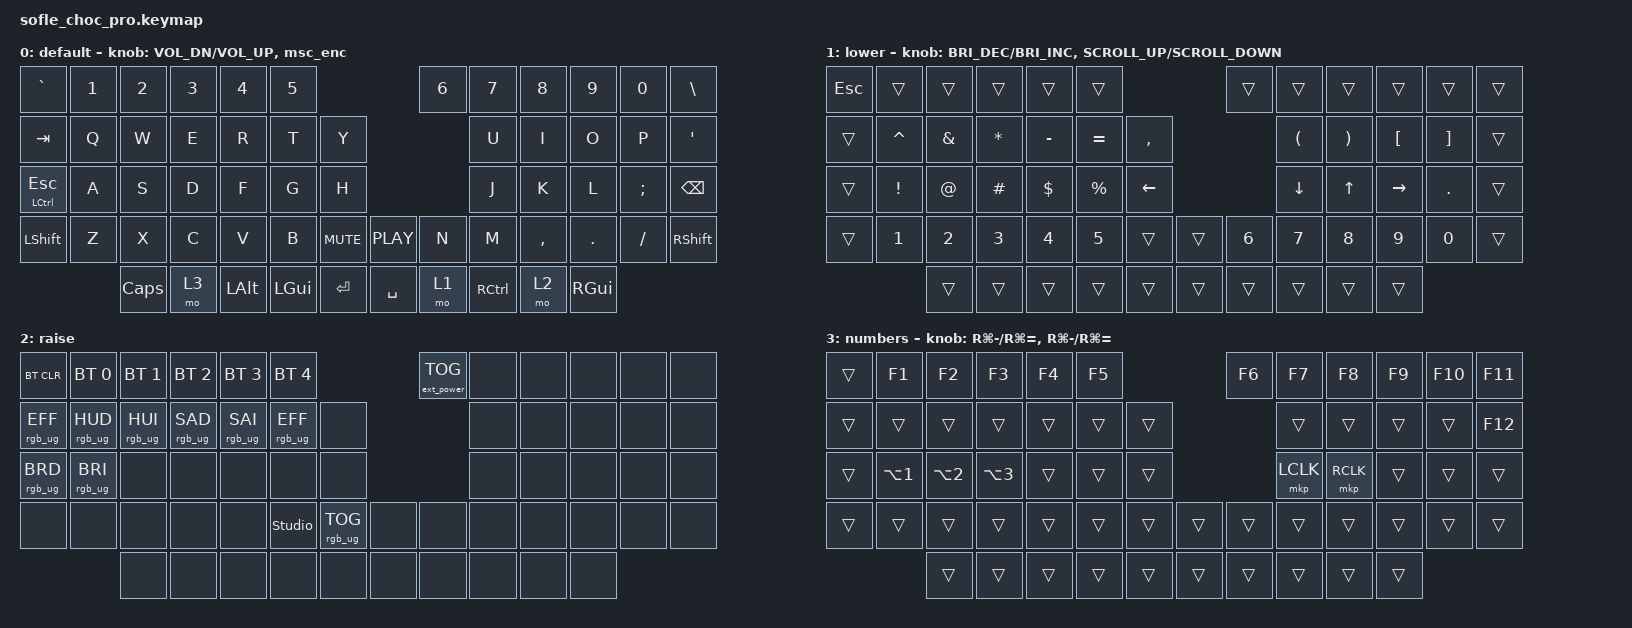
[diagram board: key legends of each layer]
/*
* Copyright (c) 2020 The ZMK Contributors
*
* SPDX-License-Identifier: MIT
*/

#include <behaviors.dtsi>
#include <dt-bindings/zmk/bt.h>
#include <dt-bindings/zmk/ext_power.h>
#include <dt-bindings/zmk/keys.h>
#include <dt-bindings/zmk/pointing.h>
#include <dt-bindings/zmk/rgb.h>

#define BASE 0
#define LOWER 1
#define RAISE 2
#define ADJUST 3

/ {
    // Activate ADJUST layer by pressing raise and lower

    conditional_layers { compatible = "zmk,conditional-layers"; };

    // Sensor-rotate behavior wrapping &msc for the right encoder.
    // sensor-bindings entries need a behavior taking TWO params (one per
    // rotation direction) — that's why &inc_dec_kp works for &kp. &msc takes
    // only one arg, and ZMK doesn't ship an inc_dec_msc helper, so we declare
    // our own sensor-rotate behavior here.
    // Requires CONFIG_ZMK_POINTING=y in sofle_choc_pro.conf.

    behaviors {
        msc_enc: behavior_sensor_rotate_msc {
            compatible = "zmk,behavior-sensor-rotate";
            #sensor-binding-cells = <0>;
            bindings = <&msc SCRL_UP>, <&msc SCRL_DOWN>;

            // &msc emits scroll ticks at a rate while held; the default
            // sensor-rotate tap is too short to produce one tick per detent.

            tap-ms = <30>;
        };
    };

    keymap {
        compatible = "zmk,keymap";

        default_layer {
            display-name = "default";

            // ------------------------------------------------------------------------------------------------------------
            // |   `   |  1  |  2  |  3   |  4   |  5   |                   |  6   |  7    |  8    |  9   |   0   |   `   |
            // |  ESC  |  Q  |  W  |  E   |  R   |  T   |                   |  Y   |  U    |  I    |  O   |   P   | BKSPC |
            // |  TAB  |  A  |  S  |  D   |  F   |  G   |                   |  H   |  J    |  K    |  L   |   ;   |   '   |
            // | SHIFT |  Z  |  X  |  C   |  V   |  B   |  MUTE  |  | PLAY  |  N   |  M    |  ,    |  .   |   /   | SHIFT |
            //               | GUI | ALT  | CTRL | LOWER|  ENTER |  | SPACE | RAISE| CTRL  | ALT   | GUI  |

            bindings = <
&kp GRAVE         &kp N1  &kp N2        &kp N3  &kp N4        &kp N5                                &kp N6  &kp N7             &kp N8     &kp N9         &kp N0    &kp BACKSLASH
&kp TAB           &kp Q   &kp W         &kp E   &kp R         &kp T         &kp Y                           &kp U              &kp I      &kp O          &kp P     &kp SINGLE_QUOTE
&mt LCTRL ESCAPE  &kp A   &kp S         &kp D   &kp F         &kp G         &kp H                           &kp J              &kp K      &kp L          &kp SEMI  &kp BACKSPACE
&kp LSHFT         &kp Z   &kp X         &kp C   &kp V         &kp B         &kp C_MUTE  &kp C_PLAY  &kp N   &kp M              &kp COMMA  &kp DOT        &kp FSLH  &kp RSHFT
                          &kp CAPSLOCK  &mo 3   &kp LEFT_ALT  &kp LEFT_GUI  &kp RET     &kp SPACE   &mo 1   &kp RIGHT_CONTROL  &mo 2      &kp RIGHT_GUI
            >;

            sensor-bindings = <&inc_dec_kp C_VOL_DN C_VOL_UP>, <&msc_enc>;
        };

        lower {
            display-name = "lower";

            // ------------------------------------------------------------------------------------------------------------
            // |       |  F1 |  F2 |  F3  |  F4  |  F5  |                   |  F6  |  F7   |  F8   |  F9  |  F10  |  F11  |
            // |   `   |  1  |  2  |  3   |  4   |  5   |                   |  6   |  7    |  8    |  9   |   0   |  F12  |
            // |       |  !  |  @  |  #   |  $   |  %   |                   |  ^   |  &    |  *    |  (   |   )   |   |   |
            // |       |  =  |  -  |  +   |  {   |  }   |        |  |       |  [   |  ]    |  ;    |  :   |   \   |       |
            //               |     |      |      |      |        |  |       |      |       |       |      |

            bindings = <
&kp ESCAPE  &trans           &trans         &trans        &trans        &trans                                &trans        &trans                &trans                 &trans            &trans             &trans
&trans      &kp CARET        &kp AMPERSAND  &kp ASTERISK  &kp MINUS     &kp EQUAL     &kp COMMA                             &kp LEFT_PARENTHESIS  &kp RIGHT_PARENTHESIS  &kp LEFT_BRACKET  &kp RIGHT_BRACKET  &trans
&trans      &kp EXCLAMATION  &kp AT_SIGN    &kp HASH      &kp DOLLAR    &kp PERCENT   &kp LEFT_ARROW                        &kp DOWN_ARROW        &kp UP_ARROW           &kp RIGHT_ARROW   &kp PERIOD         &trans
&trans      &kp NUMBER_1     &kp NUMBER_2   &kp NUMBER_3  &kp NUMBER_4  &kp NUMBER_5  &trans          &trans  &kp NUMBER_6  &kp NUMBER_7          &kp NUMBER_8           &kp NUMBER_9      &kp NUMBER_0       &trans
                             &trans         &trans        &trans        &trans        &trans          &trans  &trans        &trans                &trans                 &trans
            >;

            sensor-bindings =
                <&inc_dec_kp C_BRIGHTNESS_DEC C_BRIGHTNESS_INC>,
                <&inc_dec_kp K_SCROLL_UP K_SCROLL_DOWN>;
        };

        raise {
            // ----------------------------------------------------------------------------------------------------------------------------
            // | BTCLR  |  BT1    |  BT2    |   BT3   |   BT4   |   BT5   |                  |      |      |       |      |       |       |
            // | EXTPWR | RGB_HUD | RGB_HUI | RGB_SAD | RGB_SAI | RGB_EFF |                  |      |      |       |      |       |       |
            // |        | RGB_BRD | RGB_BRI |         |         |         |                  |      |      |       |      |       |       |
            // |        |         |         |         |         |         | RGB_TOG | |      |      |      |       |      |       |       |
            //                    |         |         |         |         |         | |      |      |      |       |      |

            display-name = "raise";
            bindings = <
&bt BT_CLR       &bt BT_SEL 0     &bt BT_SEL 1     &bt BT_SEL 2     &bt BT_SEL 3     &bt BT_SEL 4                             &ext_power EP_TOG  &none  &none  &none  &none  &none
&rgb_ug RGB_EFF  &rgb_ug RGB_HUD  &rgb_ug RGB_HUI  &rgb_ug RGB_SAD  &rgb_ug RGB_SAI  &rgb_ug RGB_EFF  &none                                      &none  &none  &none  &none  &none
&rgb_ug RGB_BRD  &rgb_ug RGB_BRI  &none            &none            &none            &none            &none                                      &none  &none  &none  &none  &none
&none            &none            &none            &none            &none            &studio_unlock   &rgb_ug RGB_TOG  &none  &none              &none  &none  &none  &none  &none
                                  &none            &none            &none            &none            &none            &none  &none              &none  &none  &none
            >;
        };

        numbers {
            bindings = <
&trans  &kp F1            &kp F2            &kp F3            &kp F4  &kp F5                  &kp F6  &kp F7     &kp F8     &kp F9  &kp F10  &kp F11
&trans  &trans            &trans            &trans            &trans  &trans  &trans                  &trans     &trans     &trans  &trans   &kp F12
&trans  &kp LA(NUMBER_1)  &kp LA(NUMBER_2)  &kp LA(NUMBER_3)  &trans  &trans  &trans                  &mkp LCLK  &mkp RCLK  &trans  &trans   &trans
&trans  &trans            &trans            &trans            &trans  &trans  &trans  &trans  &trans  &trans     &trans     &trans  &trans   &trans
                          &trans            &trans            &trans  &trans  &trans  &trans  &trans  &trans     &trans     &trans
            >;

            label = "numbers";
            sensor-bindings =
                <&inc_dec_kp RG(MINUS) RG(EQUAL)>,
                <&inc_dec_kp RG(MINUS) RG(EQUAL)>;
        };
    };
};
